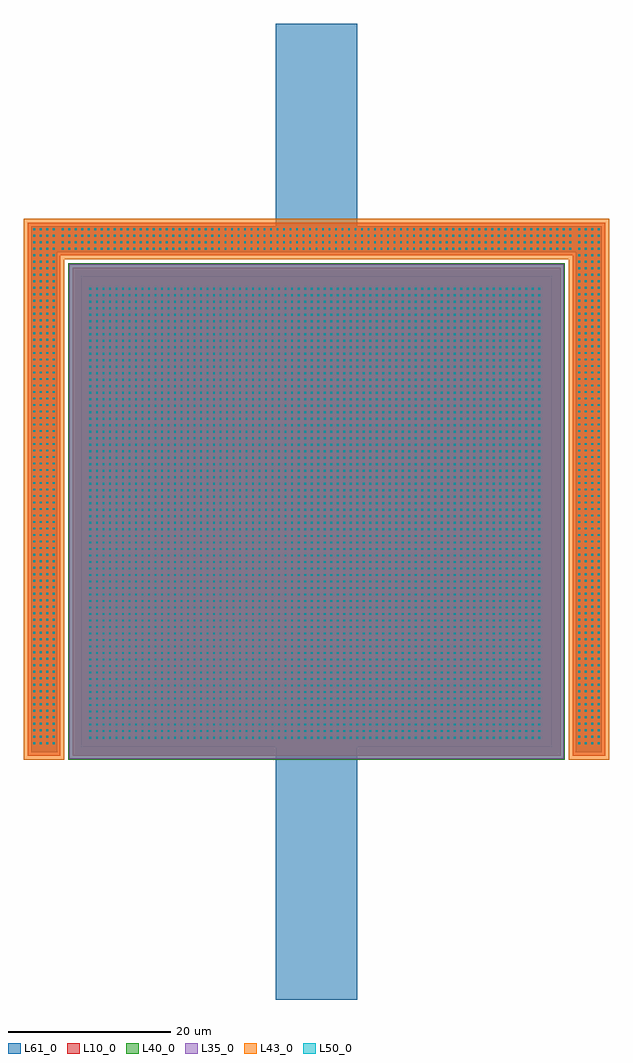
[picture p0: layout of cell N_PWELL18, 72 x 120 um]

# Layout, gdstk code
from math import pi, radians
import gdstk
lib = gdstk.Library(unit=1e-6, precision=1e-09)
def R(c, l, rs):  # rectangles x0, y0, x1, y1
    for r in rs: c.add(gdstk.rectangle(r[:2], r[2:], *l))
def P(c, l, *ps):  # polygons
    for p in ps: c.add(gdstk.Polygon(p, *l))
L10_0 = (10, 0)
L35_0 = (35, 0)
L40_0 = (40, 0)
L43_0 = (43, 0)
L50_0 = (50, 0)
L61_0 = (61, 0)

cont022stc_tl001_m = lib.new_cell('CONT022STC_TL001_M')
R(cont022stc_tl001_m, L50_0, [(0,0,0.22,0.22)])

n_pwell18 = lib.new_cell('N_PWELL18')
R(n_pwell18, L10_0, [(15,30,75,90), (76.5,30,80.5,91.5)])
P(n_pwell18, L10_0, [(9.5,30),(9.5,95.5),(80.5,95.5),(80.5,91.5),(13.5,91.5),(13.5,30)])
R(n_pwell18, L35_0, [(14.6,29.6,75.4,90.4)])
R(n_pwell18, L40_0, [(14.5,29.5,75.5,90.5)])
R(n_pwell18, L43_0, [(76,29.5,81,91)])
P(n_pwell18, L43_0, [(9,29.5),(9,96),(81,96),(81,91),(14,91),(14,29.5)])
R(n_pwell18, L61_0, [(40,0,50,31), (9.9,30.4,13.1,95.1), (76.9,30.4,80.1,91.9), (16,31,74,89), (13.1,91.9,80.1,95.1), (40,95.1,50,120)])
r = gdstk.Reference(cont022stc_tl001_m, (79.81,31.39), rotation=pi, x_reflection=True); r.repetition = gdstk.Repetition(4, 80, v1=(-0.8,0), v2=(0,0.8)); n_pwell18.add(r)
r = gdstk.Reference(cont022stc_tl001_m, (76.31,92.19), rotation=pi, x_reflection=True); r.repetition = gdstk.Repetition(79, 4, v1=(-0.8,0), v2=(0,0.8)); n_pwell18.add(r)
r = gdstk.Reference(cont022stc_tl001_m, (12.81,31.39), rotation=pi, x_reflection=True); r.repetition = gdstk.Repetition(4, 80, v1=(-0.8,0), v2=(0,0.8)); n_pwell18.add(r)
r = gdstk.Reference(cont022stc_tl001_m, (72.51,32.09), rotation=pi, x_reflection=True); r.repetition = gdstk.Repetition(70, 70, v1=(-0.8,0), v2=(0,0.8)); n_pwell18.add(r)

lib.write_gds('N_PWELL18.gds')
